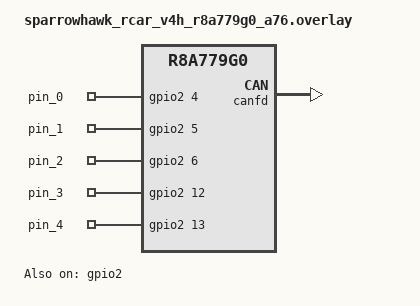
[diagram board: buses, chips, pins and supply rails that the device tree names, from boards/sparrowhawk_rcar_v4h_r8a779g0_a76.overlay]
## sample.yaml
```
sample:
  description: Can loopback sample for Sparrow Hawk
    application
  name: can_loopback
common:
  min_ram: 2
  min_flash: 16
  tags: introduction
  integration_platforms:
    - native_sim
  harness: console
  harness_config:
    type: one_line
    regex:
      - "Hello World! (.*)"
```

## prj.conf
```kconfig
CONFIG_CAN=y
CONFIG_CAN_RCAR_CANFD=y
CONFIG_GPIO=y
CONFIG_PRINTK=y
```

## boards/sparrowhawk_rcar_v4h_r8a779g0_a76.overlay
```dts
/*
 * Copyright (C) 2026 TOKITA Hiroshi
 *
 * SPDX-License-Identifier: Apache-2.0
 */

#include <zephyr/dt-bindings/gpio/gpio.h>

/ {
	gpio2: gpio@e6058180 {
		compatible = "renesas,rcar-gpio";
		reg = <0x0 0xe6058180 0x0 0x54>;
		#gpio-cells = <2>;
		gpio-controller;
		interrupts = <GIC_SPI 627 IRQ_TYPE_LEVEL IRQ_DEFAULT_PRIORITY>;
		clocks = <&cpg CPG_MOD 916>;
		status = "okay";
	};

	connector: gpio-leds {
		compatible = "gpio-leds";

		pin_0: pin-0 {
			gpios = <&gpio2 4 GPIO_ACTIVE_HIGH>;
		};

		pin_1: pin-1 {
			gpios = <&gpio2 5 GPIO_ACTIVE_HIGH>;
		};

		pin_2: pin-2 {
			gpios = <&gpio2 6 GPIO_ACTIVE_HIGH>;
		};

		pin_3: pin-3 {
			gpios = <&gpio2 12 GPIO_ACTIVE_HIGH>;
		};

		pin_4: pin-4 {
			gpios = <&gpio2 13 GPIO_ACTIVE_HIGH>;
		};
	};
};

&canfd {
	status = "okay";
};
```

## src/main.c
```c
#include <zephyr/device.h>
#include <zephyr/devicetree.h>
#include <zephyr/drivers/gpio.h>
#include <zephyr/kernel.h>
#include <zephyr/sys/printk.h>
#include <zephyr/sys/util.h>

#include <errno.h>
#include <stdbool.h>
#include <stddef.h>
#include <stdint.h>

#define CAN_ID_STANDARD_MASK    (0x7FFU)
#define CAN_ID_EXTENDED_MASK    (0x1FFFFFFFU)
#define CAN_ID_TYPE_MASK        (0xC0000000U)
#define CAN_ID_TYPE_STANDARD    (0x00U << 30)
#define CAN_ID_TYPE_FD_STANDARD (0x01U << 30)
#define CAN_ID_TYPE_EXTENDED    (0x02U << 30)
#define CAN_ID_TYPE_FD_EXTENDED (0x03U << 30)

extern int rcar_canfd_send(const struct device *dev, int ch, uint32_t id, const uint8_t *data, uint8_t len);
extern int rcar_canfd_poll_recv(const struct device *dev, int ch, uint32_t *id, uint8_t *len, uint8_t *data);

#define CAN_CH_MIN 3
#define CAN_CH_MAX 4

#define CAN_ID_VEHICLE_STATUS_1 1001U
#define CAN_ID_VEHICLE_STATUS_2 985U
#define CAN_ID_VEHICLE_STATUS_3 986U
#define CAN_ID_EV_POWERTRAIN    180U
#define CAN_ID_ESP              184U
#define CAN_ID_EPS_STATUS       192U
#define CAN_ID_BCM_STATUS_1     142U

#define SPEED_FULL_KMH      200U
#define ENGINE_FULL_RPM     8000U
#define PULSE_MIN_FREQ_HZ   100U
#define PULSE_MAX_FREQ_HZ   150U
#define PULSE_LOW_US        200U
#define PULSE_USEC_PER_SEC  1000000U
#define OUTPUT_UPDATE_MS    1U
#define DEBUG_PRINT_MS      1000U
#define ANSI_HOME           "\x1b[H"
#define ANSI_CLEAR_EOL      "\x1b[K"

BUILD_ASSERT(PULSE_MAX_FREQ_HZ > PULSE_MIN_FREQ_HZ);
BUILD_ASSERT(PULSE_LOW_US < (PULSE_USEC_PER_SEC / PULSE_MAX_FREQ_HZ));

enum led_index {
    LED_FAULT_PRESENT,
    LED_A,
    LED_B,
    LED_C,
    LED_D,
    LED_COUNT,
};

struct vehicle_state {
    uint32_t speed_kmh;
    uint32_t engine_rpm;
    uint8_t shift_position;
    bool left_turn;
    bool right_turn;
    bool eps_fault;
    bool abs_fault;
    bool motor_fault;
    bool left_seat_belt_fastened;
    bool right_seat_belt_fastened;
};

struct pulse_output {
    const char *name;
    enum led_index pin;
    uint32_t high_us;
    bool on;
    bool enabled;
};

struct debug_stats {
    uint32_t rx_total;
    uint32_t rx_decoded;
    uint32_t rx_bad_len;
    uint32_t rx_unknown;
    uint32_t last_id;
    uint8_t last_ch;
    uint8_t last_len;
    uint8_t last_data[8];
};

static const struct device *canfd = DEVICE_DT_GET(DT_NODELABEL(canfd));
static struct vehicle_state state = {
    .left_seat_belt_fastened = true,
    .right_seat_belt_fastened = true,
};
static struct debug_stats debug_stats;
static bool led_output_state[LED_COUNT];
K_MUTEX_DEFINE(state_lock);
K_SEM_DEFINE(app_ready, 0, 2);

#define CONNECTOR_NODE DT_NODELABEL(connector)

#define GPIO_DT_SPEC_GET_CHILD(node_id) GPIO_DT_SPEC_GET(node_id, gpios)

static struct gpio_dt_spec pins[] = {
    DT_FOREACH_CHILD_STATUS_OKAY_SEP(CONNECTOR_NODE, GPIO_DT_SPEC_GET_CHILD, (,))
};

BUILD_ASSERT(ARRAY_SIZE(pins) == LED_COUNT);

static const char *const led_names[] = {
    "FAULT_PRESENT",
    "A",
    "B",
    "C",
    "D",
};

BUILD_ASSERT(ARRAY_SIZE(led_names) == LED_COUNT);

int init_condition_check(void)
{
    if (!device_is_ready(canfd)) {
        printk("canfd not ready\n");
        return -1;
    }

    for (size_t i = 0; i < ARRAY_SIZE(pins); ++i) {
        int ret;

        if (!gpio_is_ready_dt(&pins[i])) {
            printk("GPIO%u not ready\n", (uint32_t)i);
            return -1;
        }

        ret = gpio_pin_configure_dt(&pins[i], GPIO_OUTPUT_INACTIVE);
        if (ret != 0) {
            printk("GPIO%u configure failed: %d\n", (uint32_t)i, ret);
            return ret;
        }
    }
    return 0;
}

static uint32_t can_id_without_flags(uint32_t id)
{
    uint32_t id_flags = id & CAN_ID_TYPE_MASK;

    if ((id_flags == CAN_ID_TYPE_STANDARD) || (id_flags == CAN_ID_TYPE_FD_STANDARD)) {
        return id & CAN_ID_STANDARD_MASK;
    }

    return id & CAN_ID_EXTENDED_MASK;
}

static bool bit_is_set(const uint8_t *data, size_t len, size_t byte, uint8_t bit)
{
    if (byte >= len) {
        return false;
    }

    return ((data[byte] >> bit) & 0x1U) != 0U;
}

static bool decode_can_frame(uint32_t raw_id, const uint8_t *data, uint8_t len)
{
    uint32_t id = can_id_without_flags(raw_id);
    bool decoded = true;

    if (len != 8U) {
        k_mutex_lock(&state_lock, K_FOREVER);
        debug_stats.rx_bad_len++;
        k_mutex_unlock(&state_lock);
        return false;
    }

    k_mutex_lock(&state_lock, K_FOREVER);

    switch (id) {
    case CAN_ID_VEHICLE_STATUS_1:
        state.speed_kmh = (((uint16_t)data[0] << 7) | (data[1] >> 1)) / 64U;
        break;
    case CAN_ID_VEHICLE_STATUS_2:
        state.engine_rpm = ((data[2] * 256U) + data[3]) / 4U;
        break;
    case CAN_ID_VEHICLE_STATUS_3:
        state.left_turn = bit_is_set(data, len, 0, 1);
        state.right_turn = bit_is_set(data, len, 0, 2);
        break;
    case CAN_ID_EV_POWERTRAIN:
        state.motor_fault = bit_is_set(data, len, 0, 1);
        state.shift_position = (data[1] >> 2) & 0x07U;
        break;
    case CAN_ID_ESP:
        state.abs_fault = bit_is_set(data, len, 3, 3);
        break;
    case CAN_ID_EPS_STATUS:
        state.eps_fault = bit_is_set(data, len, 0, 6);
        break;
    case CAN_ID_BCM_STATUS_1:
        state.left_seat_belt_fastened = bit_is_set(data, len, 1, 4);
        state.right_seat_belt_fastened = bit_is_set(data, len, 1, 5);
        break;
    default:
        decoded = false;
        debug_stats.rx_unknown++;
        break;
    }

    if (decoded) {
        debug_stats.rx_decoded++;
    }

    k_mutex_unlock(&state_lock);

    return decoded;
}

static uint8_t pulse_percent_from_value(uint32_t value, uint32_t full_scale)
{
    uint32_t percent = (value * 100U) / full_scale;

    if (percent > 100U) {
        return 100U;
    }

    return percent;
}

static uint32_t pulse_frequency_from_percent(uint8_t percent)
{
    return PULSE_MIN_FREQ_HZ +
           (((PULSE_MAX_FREQ_HZ - PULSE_MIN_FREQ_HZ) * percent) / 100U);
}

static uint32_t pulse_high_us_from_percent(uint8_t percent)
{
    uint32_t frequency_hz = pulse_frequency_from_percent(percent);
    uint32_t period_us = PULSE_USEC_PER_SEC / frequency_hz;

    return period_us - PULSE_LOW_US;
}

static void led_set_raw(enum led_index pin, bool on)
{
    (void)gpio_pin_set_dt(&pins[pin], on ? 1 : 0);
    led_output_state[pin] = on;
}

static void led_set_logged(enum led_index pin, bool on, const char *reason)
{
    ARG_UNUSED(reason);

    led_set_raw(pin, on);
}

static void led_toggle_logged(enum led_index pin, const char *reason)
{
    led_set_logged(pin, !led_output_state[pin], reason);
}

static struct pulse_output speed_pulse = {
    .name = "speed",
    .pin = LED_C,
};
static struct pulse_output engine_pulse = {
    .name = "engine",
    .pin = LED_D,
};

static void pulse_output_step(struct pulse_output *pulse, struct k_timer *timer)
{
    if (!pulse->enabled) {
        led_set_raw(pulse->pin, false);
        return;
    }

    if (!pulse->on) {
        pulse->on = true;
        led_set_raw(pulse->pin, true);
        k_timer_start(timer, K_USEC(pulse->high_us), K_NO_WAIT);
        return;
    }

    pulse->on = false;
    led_set_raw(pulse->pin, false);
    k_timer_start(timer, K_USEC(PULSE_LOW_US), K_NO_WAIT);
}

static void speed_pulse_timer_handler(struct k_timer *timer)
{
    pulse_output_step(&speed_pulse, timer);
}

static void engine_pulse_timer_handler(struct k_timer *timer)
{
    pulse_output_step(&engine_pulse, timer);
}

K_TIMER_DEFINE(speed_pulse_timer, speed_pulse_timer_handler, NULL);
K_TIMER_DEFINE(engine_pulse_timer, engine_pulse_timer_handler, NULL);

static void pulse_output_stop(struct pulse_output *pulse, struct k_timer *timer, const char *reason)
{
    k_timer_stop(timer);
    pulse->high_us = 0U;
    pulse->on = false;
    pulse->enabled = false;
    led_set_logged(pulse->pin, false, reason);
}

static void pulse_output_set_percent(struct pulse_output *pulse, struct k_timer *timer,
                                     uint8_t percent)
{
    uint32_t high_us = pulse_high_us_from_percent(percent);

    if (pulse->enabled && (pulse->high_us == high_us)) {
        return;
    }

    pulse->high_us = high_us;
    pulse->on = false;
    pulse->enabled = true;
    led_set_raw(pulse->pin, false);
    k_timer_start(timer, K_NO_WAIT, K_NO_WAIT);
}

static void led_task(void *arg1, void *arg2, void *arg3)
{
    ARG_UNUSED(arg1);
    ARG_UNUSED(arg2);
    ARG_UNUSED(arg3);

    k_sem_take(&app_ready, K_FOREVER);

    for (;;) {
        struct vehicle_state snapshot;
        bool seat_belt_open;
        bool diagnostic_active;
        bool turn_active;

        k_mutex_lock(&state_lock, K_FOREVER);
        snapshot = state;
        k_mutex_unlock(&state_lock);

        seat_belt_open =
            !snapshot.left_seat_belt_fastened || !snapshot.right_seat_belt_fastened;
        diagnostic_active = snapshot.eps_fault || snapshot.abs_fault ||
                    snapshot.motor_fault || seat_belt_open;
        turn_active = snapshot.left_turn || snapshot.right_turn;

        led_set_logged(LED_FAULT_PRESENT, diagnostic_active, "fault-present");

        if (diagnostic_active) {
            /* led1..led4 encode EPS, ABS, motor, and seat-belt diagnostics. */
            led_set_logged(LED_A, snapshot.eps_fault, "eps-fault");
            led_set_logged(LED_B, snapshot.abs_fault, "abs-fault");
            pulse_output_stop(&speed_pulse, &speed_pulse_timer, "diagnostic-mode");
            pulse_output_stop(&engine_pulse, &engine_pulse_timer, "diagnostic-mode");
            led_set_logged(LED_C, snapshot.motor_fault, "motor-fault");
            led_set_logged(LED_D, seat_belt_open, "seat-belt-open");
        } else if (turn_active) {
            pulse_output_stop(&speed_pulse, &speed_pulse_timer, "turn-mode");
            pulse_output_stop(&engine_pulse, &engine_pulse_timer, "turn-mode");
            led_set_logged(LED_A, snapshot.left_turn, "left-turn");
            led_set_logged(LED_B, snapshot.right_turn, "right-turn");
        } else {
            uint8_t speed_percent = pulse_percent_from_value(snapshot.speed_kmh,
                                    SPEED_FULL_KMH);
            uint8_t engine_percent = pulse_percent_from_value(snapshot.engine_rpm,
                                     ENGINE_FULL_RPM);

            pulse_output_set_percent(&speed_pulse, &speed_pulse_timer, speed_percent);
            pulse_output_set_percent(&engine_pulse, &engine_pulse_timer, engine_percent);

            led_set_logged(LED_A, snapshot.left_turn, "left-turn");
            led_set_logged(LED_B, snapshot.right_turn, "right-turn");
        }

        k_sleep(K_MSEC(OUTPUT_UPDATE_MS));
    }
}

static void can_rx_task(void *arg1, void *arg2, void *arg3)
{
    uint8_t tx[64] = {0};
    uint8_t rx[64];
    uint32_t id, id_flags, id_without_flags;
    uint8_t len = 8;
    uint32_t cnt = 1;
    volatile uint32_t dummy;

    ARG_UNUSED(arg1);
    ARG_UNUSED(arg2);
    ARG_UNUSED(arg3);
    ARG_UNUSED(id_flags);
    ARG_UNUSED(id_without_flags);

    printk("start can_rx_task\n");

    k_sem_take(&app_ready, K_FOREVER);

    tx[0] = 0xff;
    rcar_canfd_send(canfd, 3, 0x123 | CAN_ID_TYPE_FD_EXTENDED, tx, 8);
    while(1) {
        for (int ch = 3; ch < 5; ++ch) {
            while (!rcar_canfd_poll_recv(canfd, ch, &id, &len, rx)) {
                // Debug log
                /*
                printk("RX(ch%d) id=0x%x len=%u data=", ch, id, len);
                for (int i=0;i<len;i++) printk("%02x ", rx[i]);
                printk("\n");
                */

                k_mutex_lock(&state_lock, K_FOREVER);
                debug_stats.rx_total++;
                debug_stats.last_ch = ch;
                debug_stats.last_id = can_id_without_flags(id);
                debug_stats.last_len = len;
                for (uint8_t i = 0U; (i < len) && (i < ARRAY_SIZE(debug_stats.last_data)); ++i) {
                    debug_stats.last_data[i] = rx[i];
                }
                k_mutex_unlock(&state_lock);

                (void)decode_can_frame(id, rx, len);

#if 0
                // echo back
                id_flags = id & CAN_ID_TYPE_MASK;
                if ( (id_flags == CAN_ID_TYPE_STANDARD) || (id_flags == CAN_ID_TYPE_FD_STANDARD) ) { // Standard ID
                    id_without_flags = (id+1) & CAN_ID_STANDARD_MASK;
                }
                else {
                    id_without_flags = (id+1) & CAN_ID_EXTENDED_MASK;
                }

                for (int i=0; i<len; ++i) {
                    tx[i] = rx[i] + 1;
                }
                rcar_canfd_send(canfd, ch, (id_flags | id_without_flags), tx, len);
#endif
            }
        }

        k_sleep(K_MSEC(1));
    }
}

static void print_debug_status(struct debug_stats *prev)
{
    struct vehicle_state snapshot;
    struct debug_stats stats;
    bool seat_belt_open;
    uint32_t error_count;
    const char *turn_text;
    bool fault_printed = false;

    k_mutex_lock(&state_lock, K_FOREVER);
    snapshot = state;
    stats = debug_stats;
    k_mutex_unlock(&state_lock);

    seat_belt_open =
        !snapshot.left_seat_belt_fastened || !snapshot.right_seat_belt_fastened;
    error_count = stats.rx_unknown + stats.rx_bad_len;

    if (snapshot.left_turn && snapshot.right_turn) {
        turn_text = "Left|Right";
    } else if (snapshot.left_turn) {
        turn_text = "Left";
    } else if (snapshot.right_turn) {
        turn_text = "Right";
    } else {
        turn_text = "";
    }

    printk(ANSI_HOME);
    printk(ANSI_CLEAR_EOL "\n" ANSI_CLEAR_EOL "\n" ANSI_CLEAR_EOL "\n"
           ANSI_CLEAR_EOL "\n" ANSI_CLEAR_EOL "\n" ANSI_HOME);
    printk("[Rx]: %u err=%u [Last: %u:", stats.rx_total, error_count, stats.last_id);
    for (uint8_t i = 0U; (i < stats.last_len) && (i < ARRAY_SIZE(stats.last_data)); ++i) {
        printk(" %02x", stats.last_data[i]);
    }
    printk("]" ANSI_CLEAR_EOL "\n");
    printk("Speed = %u km/h" ANSI_CLEAR_EOL "\n", snapshot.speed_kmh);
    printk("Engine = %u rpm" ANSI_CLEAR_EOL "\n", snapshot.engine_rpm);
    printk("Turn = %s" ANSI_CLEAR_EOL "\n", turn_text);
    printk("fault =");
    if (snapshot.eps_fault) {
        printk("%sEPS", fault_printed ? "|" : " ");
        fault_printed = true;
    }
    if (snapshot.abs_fault) {
        printk("%sABS", fault_printed ? "|" : " ");
        fault_printed = true;
    }
    if (snapshot.motor_fault) {
        printk("%sMotor", fault_printed ? "|" : " ");
        fault_printed = true;
    }
    if (seat_belt_open) {
        printk("%sBelt", fault_printed ? "|" : " ");
    }
    printk(ANSI_CLEAR_EOL "\n");
    printk(ANSI_CLEAR_EOL);

    *prev = stats;
}

K_THREAD_DEFINE(led_tid, 2048, led_task, NULL, NULL, NULL, 7, 0, 0);
K_THREAD_DEFINE(can_rx_tid, 2048, can_rx_task, NULL, NULL, NULL, 5, 0, 0);

int main(void)
{
    struct debug_stats prev = {0};

    if (init_condition_check()) {
        printk("Invalid condition\n");
        return -1;
    }

    for (uint32_t i = 0; i < 2U; ++i) {
        k_sem_give(&app_ready);
    }

    for (;;) {
        k_sleep(K_MSEC(DEBUG_PRINT_MS));
        print_debug_status(&prev);
        //led_toggle_logged(LED_B, "debug-toggle");
    }
}
```
